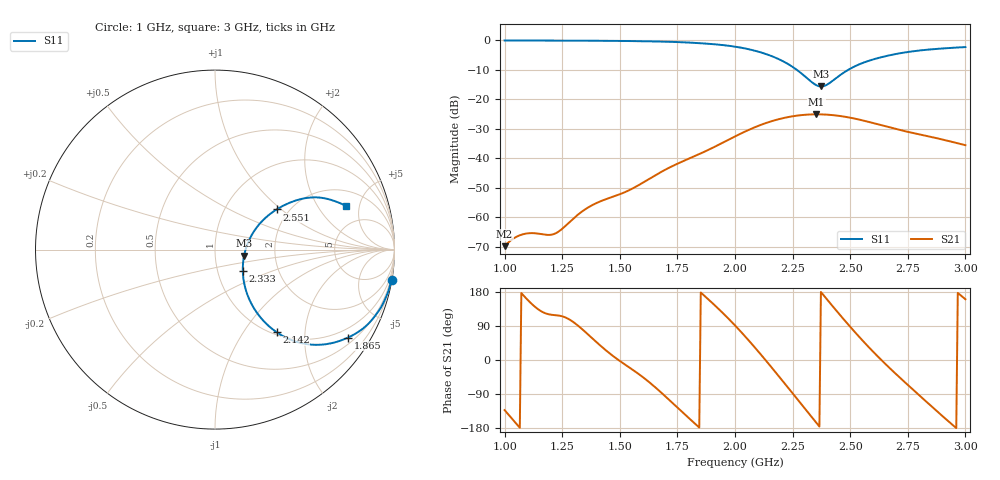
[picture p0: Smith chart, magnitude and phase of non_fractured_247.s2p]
! TOUCHSTONE file generated by CST MICROWAVE STUDIO
! Date and time: Sat Mar  8 13:55:46 2025
! Project name: non_fractured.cst
! Parameters = {B=2.5; D=160; F=5; Feed=2.85625; L=100; M=30; R=0.384908; S=1.5; Theta=180; length=57.125; wave=114.25}
! Header version: 2024
! Port assignment regex: !\s*Touchstone port\s*([0-9]+)\s*=\s*(CST MWS port|CST DES external port|CST DES block port)\s*(.+)\s* \(\"(.*)\"\)(\s*mode\s*([0-9]+))?.*
! Touchstone port assignment:
! Touchstone port 1 = CST MWS port 1 ("")
! Touchstone port 2 = CST MWS port 2 ("")
# GHz S DB R 50
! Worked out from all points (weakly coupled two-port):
!   304 points, 1 GHz to 3 GHz, reference 50 ohm
!   highest |S21| = -25.07 dB at 2.353 GHz (marker M1); lowest = -69.8 dB at 1 GHz (marker M2)
!   lowest |S11| = -15.6 dB at 2.373 GHz (marker M3), VSWR 1.40, Z = 69.1 - j4.87 ohm
!   |S11| at or under -10 dB: 2.269 GHz to 2.491 GHz (222.4 MHz wide, 9.35 % of centre)
!   S12 and S22 are empty: the file has one direction only
!   S11 on the Smith chart (normalised r, x): 1 GHz: 0, -12; 1.865 GHz: 0.69, -3.18; 2.142 GHz: 1.04, -1.43; 2.333 GHz: 1.32, -0.33; 2.551 GHz: 1.73, +0.93; 3 GHz: 3.10, +3.70
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1  -0.02 -9.8  -69.79 -132.2  -200.00 0.0  -200.00 0.0
1.0396  -0.02 -10.3  -67.14 -160.3  -200.00 0.0  -200.00 0.0
1.08581  -0.03 -10.9  -65.63 167.7  -200.00 0.0  -200.00 0.0
1.21782  -0.05 -13.0  -65.56 118.5  -200.00 0.0  -200.00 0.0
1.33663  -0.09 -15.2  -58.00 81.3  -200.00 0.0  -200.00 0.0
1.40264  -0.12 -16.5  -55.02 45.0  -200.00 0.0  -200.00 0.0
1.54785  -0.22 -20.3  -50.53 -22.4  -200.00 0.0  -200.00 0.0
1.66667  -0.38 -24.2  -45.17 -78.9  -200.00 0.0  -200.00 0.0
1.86469  -1.03 -33.5  -37.85 170.9  -200.00 0.0  -200.00 0.0
2.0033  -2.16 -42.9  -32.45 89.2  -200.00 0.0  -200.00 0.0
2.14191  -4.83 -53.3  -27.83 -7.1  -200.00 0.0  -200.00 0.0
2.24092  -8.52 -56.3  -25.86 -81.0  -200.00 0.0  -200.00 0.0
2.33333  -14.16 -37.7  -25.10 -150.9  -200.00 0.0  -200.00 0.0
2.33993  -14.55 -34.2  -25.09 -155.8  -200.00 0.0  -200.00 0.0
2.35314  -15.20 -26.1  -25.07 -165.8  -200.00 0.0  -200.00 0.0
2.37294  -15.62 -11.9  -25.09 179.4  -200.00 0.0  -200.00 0.0
2.39934  -15.01 6.3  -25.18 159.9  -200.00 0.0  -200.00 0.0
2.46535  -11.27 28.9  -25.75 112.0  -200.00 0.0  -200.00 0.0
2.55116  -7.74 33.1  -27.08 53.0  -200.00 0.0  -200.00 0.0
2.66997  -5.06 30.4  -29.49 -20.6  -200.00 0.0  -200.00 0.0
2.82178  -3.25 24.2  -32.23 -105.2  -200.00 0.0  -200.00 0.0
3  -2.26 18.3  -35.55 160.4  -200.00 0.0  -200.00 0.0
